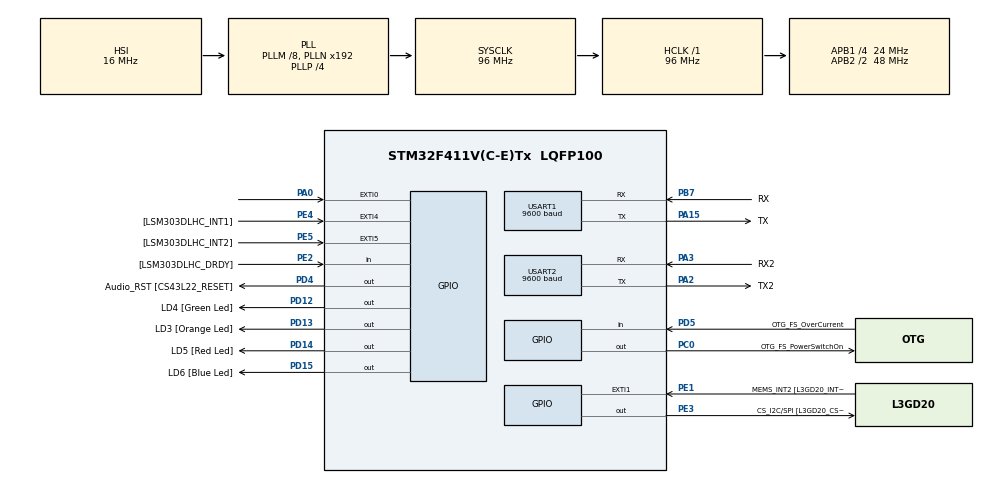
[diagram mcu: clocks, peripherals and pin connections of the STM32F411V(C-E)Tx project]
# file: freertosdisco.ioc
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Dma.Request0=USART1_RX
Dma.USART1_RX.0.Direction=DMA_PERIPH_TO_MEMORY
Dma.USART1_RX.0.FIFOMode=DMA_FIFOMODE_DISABLE
Dma.USART1_RX.0.Instance=DMA2_Stream2
Dma.USART1_RX.0.MemDataAlignment=DMA_MDATAALIGN_BYTE
Dma.USART1_RX.0.MemInc=DMA_MINC_ENABLE
Dma.USART1_RX.0.Mode=DMA_CIRCULAR
Dma.USART1_RX.0.PeriphDataAlignment=DMA_PDATAALIGN_BYTE
Dma.USART1_RX.0.PeriphInc=DMA_PINC_DISABLE
Dma.USART1_RX.0.Priority=DMA_PRIORITY_LOW
FREERTOS.BinarySemaphores01=myBinarySem01
FREERTOS.INCLUDE_vTaskDelayUntil=1
FREERTOS.Tasks01=Task1,0,128,task1,Default
FREERTOS.configUSE_IDLE_HOOK=1
Mcu.Family=STM32F4
Mcu.Name=STM32F411V(C-E)Tx
Mcu.Package=LQFP100
NVIC.DMA2_Stream2_IRQn=true\:5\:0\:false\:false\:true\:true
NVIC.PriorityGroup=NVIC_PRIORITYGROUP_4
NVIC.TIM1_UP_TIM10_IRQn=true\:0\:0\:false\:false\:true\:false
NVIC.TimeBase=TIM1_UP_TIM10_IRQn
NVIC.TimeBaseIP=TIM1
NVIC.USART1_IRQn=true\:0\:0\:false\:false\:true\:false
NVIC.USART2_IRQn=true\:0\:0\:false\:false\:true\:false
PA0-WKUP.GPIO_ModeDefaultEXTI=GPIO_MODE_EVT_RISING
PA0-WKUP.Signal=GPXTI0
PA10.GPIO_Label=OTG_FS_ID
PA10.Signal=USB_OTG_FS_ID
PA11.GPIO_Label=OTG_FS_DM
PA11.Signal=USB_OTG_FS_DM
PA12.GPIO_Label=OTG_FS_DP
PA12.Signal=USB_OTG_FS_DP
PA13.GPIO_Label=SWDIO
PA13.Signal=SYS_JTMS-SWDIO
PA14.GPIO_Label=SWCLK
PA14.Signal=SYS_JTCK-SWCLK
PA15.GPIO_Label=TX
PA15.Mode=Asynchronous
PA15.Signal=USART1_TX
PA2.GPIO_Label=TX2
PA2.Mode=Asynchronous
PA2.Signal=USART2_TX
PA3.GPIO_Label=RX2
PA3.Mode=Asynchronous
PA3.Signal=USART2_RX
PA4.GPIO_Label=I2S3_WS [CS43L22_LRCK]
PA4.GPIO_Mode=GPIO_MODE_AF_PP
PA4.GPIO_PuPd=GPIO_NOPULL
PA4.GPIO_Speed=GPIO_SPEED_FREQ_LOW
PA4.Signal=I2S3_WS
PA5.GPIO_Label=SPI1_SCK [L3GD20_SC/SPC]
PA5.Signal=SPI1_SCK
PA6.GPIO_Label=SPI1_MISO [L3GD20_AS0/SDO]
PA6.Signal=SPI1_MISO
PA7.GPIO_Label=SPI1_MOSI [L3GD20_SDA/SDI/SDO]
PA7.Signal=SPI1_MOSI
PA9.GPIO_Label=VBUS_FS
PA9.Signal=USB_OTG_FS_VBUS
PB10.GPIO_Label=CLK_IN [MP45DT02_CLK]
PB10.Signal=I2S2_CK
PB12.Signal=I2S2_WS
PB3.GPIO_Label=SWO
PB3.Signal=SYS_JTDO-SWO
PB6.GPIO_Label=Audio_SCL [CS43L22_SCL]
PB6.GPIO_Mode=GPIO_MODE_AF_OD
PB6.GPIO_PuPd=GPIO_NOPULL
PB6.GPIO_Speed=GPIO_SPEED_FREQ_LOW
PB6.Signal=I2C1_SCL
PB7.GPIO_Label=RX
PB7.Mode=Asynchronous
PB7.Signal=USART1_RX
PB9.GPIO_Label=Audio_SDA [CS43L22_SDA]
PB9.GPIO_Mode=GPIO_MODE_AF_OD
PB9.GPIO_PuPd=GPIO_NOPULL
PB9.GPIO_Speed=GPIO_SPEED_FREQ_LOW
PB9.Signal=I2C1_SDA
PC0.GPIO_Label=OTG_FS_PowerSwitchOn
PC0.Signal=GPIO_Output
PC10.GPIO_Label=I2S3_SCK [CS43L22_SCLK]
PC10.GPIO_Mode=GPIO_MODE_AF_PP
PC10.GPIO_PuPd=GPIO_NOPULL
PC10.GPIO_Speed=GPIO_SPEED_FREQ_LOW
PC10.Signal=I2S3_CK
PC12.GPIO_Label=I2S3_SD [CS43L22_SDIN]
PC12.GPIO_Mode=GPIO_MODE_AF_PP
PC12.GPIO_PuPd=GPIO_NOPULL
PC12.GPIO_Speed=GPIO_SPEED_FREQ_LOW
PC12.Signal=I2S3_SD
PC14-OSC32_IN.GPIO_Label=PC14-OSC32_IN
PC14-OSC32_IN.Signal=RCC_OSC32_IN
PC15-OSC32_OUT.GPIO_Label=PC15-OSC32_OUT
PC15-OSC32_OUT.Signal=RCC_OSC32_OUT
PC3.GPIO_Label=PDM_OUT [MP45DT02_DOUT]
PC3.Signal=I2S2_SD
PC7.GPIO_Label=I2S3_MCK [CS43L22_MCLK]
PC7.GPIO_Mode=GPIO_MODE_AF_PP
PC7.GPIO_PuPd=GPIO_NOPULL
PC7.GPIO_Speed=GPIO_SPEED_FREQ_LOW
PC7.Signal=I2S3_MCK
PD12.GPIO_Label=LD4 [Green Led]
PD12.GPIO_PuPd=GPIO_NOPULL
PD12.GPIO_Speed=GPIO_SPEED_FREQ_LOW
PD12.Signal=GPIO_Output
PD13.GPIO_Label=LD3 [Orange Led]
PD13.GPIO_PuPd=GPIO_NOPULL
PD13.GPIO_Speed=GPIO_SPEED_FREQ_LOW
PD13.Signal=GPIO_Output
PD14.GPIO_Label=LD5 [Red Led]
PD14.GPIO_PuPd=GPIO_NOPULL
PD14.GPIO_Speed=GPIO_SPEED_FREQ_LOW
PD14.Signal=GPIO_Output
PD15.GPIO_Label=LD6 [Blue Led]
PD15.GPIO_PuPd=GPIO_NOPULL
PD15.GPIO_Speed=GPIO_SPEED_FREQ_LOW
PD15.Signal=GPIO_Output
PD4.GPIO_Label=Audio_RST [CS43L22_RESET]
PD4.Signal=GPIO_Output
PD5.GPIO_Label=OTG_FS_OverCurrent
PD5.Signal=GPIO_Input
PE1.GPIO_Label=MEMS_INT2 [L3GD20_INT2]
PE1.GPIO_ModeDefaultEXTI=GPIO_MODE_EVT_RISING
PE1.Signal=GPXTI1
PE2.GPIO_Label=[LSM303DLHC_DRDY]
PE2.Signal=GPIO_Input
PE3.GPIO_Label=CS_I2C/SPI [L3GD20_CS_I2C/SPI]
PE3.Signal=GPIO_Output
PE4.GPIO_Label=[LSM303DLHC_INT1]
PE4.GPIO_ModeDefaultEXTI=GPIO_MODE_EVT_RISING
PE4.Signal=GPXTI4
PE5.GPIO_Label=[LSM303DLHC_INT2]
PE5.GPIO_ModeDefaultEXTI=GPIO_MODE_EVT_RISING
PE5.Signal=GPXTI5
PH0\ -\ OSC_IN.GPIO_Label=PH0-OSC_IN
PH0\ -\ OSC_IN.Signal=RCC_OSC_IN
PH1\ -\ OSC_OUT.GPIO_Label=PH1-OSC_OUT
PH1\ -\ OSC_OUT.Signal=RCC_OSC_OUT
ProjectManager.HeapSize=0x200
ProjectManager.StackSize=0x400
ProjectManager.TargetToolchain=SW4STM32
RCC.48MHZClocksFreq_Value=48000000
RCC.AHBFreq_Value=96000000
RCC.APB1CLKDivider=RCC_HCLK_DIV4
RCC.APB1Freq_Value=24000000
RCC.APB1TimFreq_Value=48000000
RCC.APB2CLKDivider=RCC_HCLK_DIV2
RCC.APB2Freq_Value=48000000
RCC.APB2TimFreq_Value=96000000
RCC.CortexFreq_Value=96000000
RCC.HCLKFreq_Value=96000000
RCC.HSE_VALUE=8000000
RCC.HSI_VALUE=16000000
RCC.LSE_VALUE=32768
RCC.PLLI2SM=5
RCC.PLLI2SN=200
RCC.PLLM=8
RCC.PLLP=RCC_PLLP_DIV4
RCC.PLLQ=8
RCC.SYSCLKFreq_VALUE=96000000
RCC.SYSCLKSource=RCC_SYSCLKSOURCE_PLLCLK
RCC.VCOOutputFreq_Value=384000000
USART1.BaudRate=9600
USART2.BaudRate=9600
VP_FREERTOS_VS_ENABLE.Mode=Enabled
VP_SYS_VS_tim1.Mode=TIM1
board=STM32F411E-DISCO

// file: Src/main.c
/**
  ******************************************************************************
  * File Name          : main.c
  * Description        : Main program body
  ******************************************************************************
  *
  * COPYRIGHT(c) 2016 STMicroelectronics
  *
  * Redistribution and use in source and binary forms, with or without modification,
  * are permitted provided that the following conditions are met:
  *   1. Redistributions of source code must retain the above copyright notice,
  *      this list of conditions and the following disclaimer.
  *   2. Redistributions in binary form must reproduce the above copyright notice,
  *      this list of conditions and the following disclaimer in the documentation
  *      and/or other materials provided with the distribution.
  *   3. Neither the name of STMicroelectronics nor the names of its contributors
  *      may be used to endorse or promote products derived from this software
  *      without specific prior written permission.
  *
  * THIS SOFTWARE IS PROVIDED BY THE COPYRIGHT HOLDERS AND CONTRIBUTORS "AS IS"
  * AND ANY EXPRESS OR IMPLIED WARRANTIES, INCLUDING, BUT NOT LIMITED TO, THE
  * IMPLIED WARRANTIES OF MERCHANTABILITY AND FITNESS FOR A PARTICULAR PURPOSE ARE
  * DISCLAIMED. IN NO EVENT SHALL THE COPYRIGHT HOLDER OR CONTRIBUTORS BE LIABLE
  * FOR ANY DIRECT, INDIRECT, INCIDENTAL, SPECIAL, EXEMPLARY, OR CONSEQUENTIAL
  * DAMAGES (INCLUDING, BUT NOT LIMITED TO, PROCUREMENT OF SUBSTITUTE GOODS OR
  * SERVICES; LOSS OF USE, DATA, OR PROFITS; OR BUSINESS INTERRUPTION) HOWEVER
  * CAUSED AND ON ANY THEORY OF LIABILITY, WHETHER IN CONTRACT, STRICT LIABILITY,
  * OR TORT (INCLUDING NEGLIGENCE OR OTHERWISE) ARISING IN ANY WAY OUT OF THE USE
  * OF THIS SOFTWARE, EVEN IF ADVISED OF THE POSSIBILITY OF SUCH DAMAGE.
  *
  ******************************************************************************
  */
#include "stm32f4xx_hal.h"
#include "cmsis_os.h"
#include "dma.h"
#include "usart.h"
#include "gpio.h"

/* USER CODE BEGIN Includes */
#include "FreeRTOS.h"
/* USER CODE END Includes */

/* USER CODE BEGIN PV */
/* Private variables ---------------------------------------------------------*/

/* USER CODE END PV */

void SystemClock_Config(void);
void Error_Handler(void);
void MX_FREERTOS_Init(void);

/* USER CODE BEGIN PFP */
/* Private function prototypes -----------------------------------------------*/

/* USER CODE END PFP */

int main(void)
{

  /* MCU Configuration----------------------------------------------------------*/

  /* Reset of all peripherals, Initializes the Flash interface and the Systick. */
  HAL_Init();

  /* Configure the system clock */
  SystemClock_Config();

  /* Initialize all configured peripherals */
  MX_GPIO_Init();
  MX_DMA_Init();
  MX_USART1_UART_Init();
  MX_USART2_UART_Init();

  /* Call init function for freertos objects (in freertos.c) */
  MX_FREERTOS_Init();

  /* Start scheduler */
  osKernelStart();

  /* We should never get here as control is now taken by the scheduler */

  /* Infinite loop */
  while (1)
  {

  }

}

/** System Clock Configuration
*/
void SystemClock_Config(void)
{

  RCC_OscInitTypeDef RCC_OscInitStruct;
  RCC_ClkInitTypeDef RCC_ClkInitStruct;

  __HAL_RCC_PWR_CLK_ENABLE();

  __HAL_PWR_VOLTAGESCALING_CONFIG(PWR_REGULATOR_VOLTAGE_SCALE1);

  RCC_OscInitStruct.OscillatorType = RCC_OSCILLATORTYPE_HSI;
  RCC_OscInitStruct.HSIState = RCC_HSI_ON;
  RCC_OscInitStruct.HSICalibrationValue = 16;
  RCC_OscInitStruct.PLL.PLLState = RCC_PLL_ON;
  RCC_OscInitStruct.PLL.PLLSource = RCC_PLLSOURCE_HSI;
  RCC_OscInitStruct.PLL.PLLM = 8;
  RCC_OscInitStruct.PLL.PLLN = 192;
  RCC_OscInitStruct.PLL.PLLP = RCC_PLLP_DIV4;
  RCC_OscInitStruct.PLL.PLLQ = 8;
  if (HAL_RCC_OscConfig(&RCC_OscInitStruct) != HAL_OK)
  {
    Error_Handler();
  }

  RCC_ClkInitStruct.ClockType = RCC_CLOCKTYPE_HCLK|RCC_CLOCKTYPE_SYSCLK
                              |RCC_CLOCKTYPE_PCLK1|RCC_CLOCKTYPE_PCLK2;
  RCC_ClkInitStruct.SYSCLKSource = RCC_SYSCLKSOURCE_PLLCLK;
  RCC_ClkInitStruct.AHBCLKDivider = RCC_SYSCLK_DIV1;
  RCC_ClkInitStruct.APB1CLKDivider = RCC_HCLK_DIV4;
  RCC_ClkInitStruct.APB2CLKDivider = RCC_HCLK_DIV2;
  if (HAL_RCC_ClockConfig(&RCC_ClkInitStruct, FLASH_LATENCY_3) != HAL_OK)
  {
    Error_Handler();
  }

  HAL_SYSTICK_Config(HAL_RCC_GetHCLKFreq()/1000);

  HAL_SYSTICK_CLKSourceConfig(SYSTICK_CLKSOURCE_HCLK);

  /* SysTick_IRQn interrupt configuration */
  HAL_NVIC_SetPriority(SysTick_IRQn, 15, 0);
}

void HAL_TIM_PeriodElapsedCallback(TIM_HandleTypeDef *htim)
{
  if (htim->Instance == TIM1) {
    HAL_IncTick();
  }
}

void Error_Handler(void)
{
  while(1)
  {
  }
}

/************************ (C) COPYRIGHT STMicroelectronics *****END OF FILE****/

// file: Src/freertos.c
/**
  ******************************************************************************
  * File Name          : freertos.c
  * Description        : Code for freertos applications
  ******************************************************************************
  *
  * COPYRIGHT(c) 2016 STMicroelectronics
  *
  * Redistribution and use in source and binary forms, with or without modification,
  * are permitted provided that the following conditions are met:
  *   1. Redistributions of source code must retain the above copyright notice,
  *      this list of conditions and the following disclaimer.
  *   2. Redistributions in binary form must reproduce the above copyright notice,
  *      this list of conditions and the following disclaimer in the documentation
  *      and/or other materials provided with the distribution.
  *   3. Neither the name of STMicroelectronics nor the names of its contributors
  *      may be used to endorse or promote products derived from this software
  *      without specific prior written permission.
  *
  * THIS SOFTWARE IS PROVIDED BY THE COPYRIGHT HOLDERS AND CONTRIBUTORS "AS IS"
  * AND ANY EXPRESS OR IMPLIED WARRANTIES, INCLUDING, BUT NOT LIMITED TO, THE
  * IMPLIED WARRANTIES OF MERCHANTABILITY AND FITNESS FOR A PARTICULAR PURPOSE ARE
  * DISCLAIMED. IN NO EVENT SHALL THE COPYRIGHT HOLDER OR CONTRIBUTORS BE LIABLE
  * FOR ANY DIRECT, INDIRECT, INCIDENTAL, SPECIAL, EXEMPLARY, OR CONSEQUENTIAL
  * DAMAGES (INCLUDING, BUT NOT LIMITED TO, PROCUREMENT OF SUBSTITUTE GOODS OR
  * SERVICES; LOSS OF USE, DATA, OR PROFITS; OR BUSINESS INTERRUPTION) HOWEVER
  * CAUSED AND ON ANY THEORY OF LIABILITY, WHETHER IN CONTRACT, STRICT LIABILITY,
  * OR TORT (INCLUDING NEGLIGENCE OR OTHERWISE) ARISING IN ANY WAY OUT OF THE USE
  * OF THIS SOFTWARE, EVEN IF ADVISED OF THE POSSIBILITY OF SUCH DAMAGE.
  *
  ******************************************************************************
  */

#include "FreeRTOS.h"
#include "task.h"
#include "cmsis_os.h"

/* USER CODE BEGIN Includes */
#include "gpio.h"
#include "usart.h"
#include "dma.h"
/* USER CODE END Includes */

osThreadId Task1Handle;
osSemaphoreId myBinarySem01Handle;

/* USER CODE BEGIN Variables */
//xSemaphoreHandle xBinarySemaphore;

osSemaphoreId testBinarySemHandle;

osThreadId Task2Handle;
osThreadId Task3Handle;
osThreadId Task4Handle;
osThreadId taskLed7SegHandle;

uint8_t Rx_indx, Rx_data[2], Rx_Buffer[255], Transfer_cplt, idxTest, txDone = 0;

uint8_t buffer[10],len=2;

volatile uint32_t UartErrorCount;
volatile uint32_t astan;
volatile int licznikBussyRx=0;
volatile uint32_t statusTX;
volatile uint32_t statusRX;
volatile uint32_t licznikRXBussyState;
volatile uint8_t timeDelayRxFlag;
volatile uint8_t recivingRxFlag;

/* USER CODE END Variables */

void task1(void const * argument);

void MX_FREERTOS_Init(void); /* (MISRA C 2004 rule 8.1) */

/* USER CODE BEGIN FunctionPrototypes */

void task2(void const * argument);
void task3(void const * argument);
void task4(void const * argument);
void taskLed7Seg(void const * argument);

/* USER CODE END FunctionPrototypes */

/* Hook prototypes */
void vApplicationIdleHook(void);

/* USER CODE BEGIN 2 */
void vApplicationIdleHook( void )
{
   /* vApplicationIdleHook() will only be called if configUSE_IDLE_HOOK is set
   to 1 in FreeRTOSConfig.h. It will be called on each iteration of the idle
   task. It is essential that code added to this hook function never attempts
   to block in any way (for example, call xQueueReceive() with a block time
   specified, or call vTaskDelay()). If the application makes use of the
   vTaskDelete() API function (as this demo application does) then it is also
   important that vApplicationIdleHook() is permitted to return to its calling
   function, because it is the responsibility of the idle task to clean up
   memory allocated by the kernel to any task that has since been deleted. */
}
/* USER CODE END 2 */

/* Init FreeRTOS */

void MX_FREERTOS_Init(void) {
  /* USER CODE BEGIN Init */

	HAL_UART_Receive_DMA(&huart1, Rx_data, 1);

	//statusRX = HAL_UART_Receive_IT(&huart2, Rx_data, 1);
	//statusRX = HAL_UART_Receive_DMA(&huart2, Rx_data, 1);

  /* USER CODE END Init */

  /* Create the semaphores(s) */
  /* definition and creation of myBinarySem01 */
  osSemaphoreDef(myBinarySem01);
  myBinarySem01Handle = osSemaphoreCreate(osSemaphore(myBinarySem01), 1);

  /* USER CODE BEGIN RTOS_SEMAPHORES */
  /* add semaphores, ... */

  osSemaphoreDef(testBinarySemHandle);
  testBinarySemHandle = osSemaphoreCreate(osSemaphore(testBinarySemHandle), 1);

  /* USER CODE END RTOS_SEMAPHORES */

  /* Create the thread(s) */
  /* definition and creation of Task1 */
  osThreadDef(Task1, task1, osPriorityNormal, 0, 128);
  Task1Handle = osThreadCreate(osThread(Task1), NULL);

  /* USER CODE BEGIN RTOS_THREADS */
  /* add threads, ... */

  osThreadDef(Task2, task2, osPriorityNormal, 0, 128);
  Task2Handle = osThreadCreate(osThread(Task2), NULL);

  osThreadDef(Task3, task3, osPriorityNormal, 0, 128);
  Task3Handle = osThreadCreate(osThread(Task3), NULL);

  osThreadDef(Task4, task4, osPriorityNormal, 0, 128);
  Task4Handle = osThreadCreate(osThread(Task4), NULL);

  osThreadDef(TaskLed7Seg, taskLed7Seg, osPriorityNormal, 0, 128);
  taskLed7SegHandle = osThreadCreate(osThread(TaskLed7Seg), NULL);

  /* USER CODE END RTOS_THREADS */

}

/* task1 function */
void task1(void const * argument)
{

  /* USER CODE BEGIN task1 */
  /* Infinite loop */
  for(;;)
  {
    osDelay(100);
  }
  /* USER CODE END task1 */
}

/* USER CODE BEGIN Application */
void taskLed7Seg(void const * argument)
{
	uint32_t PreviousWakeTime = osKernelSysTick();
	for(;;)
	{

		//idle time uart 1
//		if (timeDelayRxFlag == 0) {
//			timeDelayRxFlag = 1;
//		}
//		else if (recivingRxFlag == 1)
//		{
//			recivingRxFlag = 0;
//			Transfer_cplt = 1;
//			Rx_indx = 0;
//		}
	 if (__HAL_UART_GET_FLAG(&huart1, UART_FLAG_IDLE) == 1)
		{
		 __HAL_UART_CLEAR_IDLEFLAG(&huart1);
		 HAL_GPIO_TogglePin(LD4_GPIO_Port, LD4_Pin);
			recivingRxFlag = 0;
			Transfer_cplt = 1;
			Rx_indx = 0;
		}

		//******************

		if( (Transfer_cplt == 1) && (txDone == 0))
		{
			txDone = 1;
			Transfer_cplt = 0;
			osSemaphoreRelease(testBinarySemHandle);
			HAL_GPIO_TogglePin(LD6_GPIO_Port, LD6_Pin);
		}

		astan = HAL_UART_GetState( &huart1 ) ;
		astan = HAL_UART_GetState( &huart2 ) ;

		if(  astan ==  34 )
		{
			licznikBussyRx++;
		} else
		{
			licznikBussyRx = 0;
		}

	    osDelayUntil(&PreviousWakeTime, 5);
	}
}

void HAL_UART_RxCpltCallback(UART_HandleTypeDef *huart)
{

	if (Rx_indx==0)
	{
		for (uint8_t i=0;i<255;i++)
		{
			Rx_Buffer[i]=0;
		}
	}

	if (huart->Instance == USART1)
		{
		HAL_UART_DMAPause(huart);
		__HAL_UART_FLUSH_DRREGISTER(huart);

		Rx_Buffer[Rx_indx++] = Rx_data[0];

		if ( Rx_indx >= 255 )
		{
			Rx_indx = 0;
		}

		timeDelayRxFlag = 0;
		recivingRxFlag = 1;

		HAL_UART_DMAResume(huart);
		}

	if (huart->Instance == USART2)
	{
		__HAL_UART_FLUSH_DRREGISTER(huart);
		if( Rx_data[0]!=13 )
		{

			Rx_Buffer[Rx_indx++] = Rx_data[0];
			if ( Rx_indx >= 100 )
			{
				Rx_indx = 0;
			}
		}
		else
		{
			idxTest = Rx_indx;
			Rx_indx=0;
			Transfer_cplt = 1;
		}

		statusRX = HAL_UART_Receive_IT(&huart2, Rx_data, 1);
		//statusRX = HAL_UART_Receive_DMA(&huart2, Rx_data, 1);

		  if (statusRX == HAL_OK) {
			  licznikRXBussyState = 1;
		  }
		  else if (statusRX == HAL_ERROR)
		  {
			  licznikRXBussyState = 2;
		  }
		  else if (statusRX == HAL_BUSY)
		  {
			  licznikRXBussyState = 3;
		  }

	}

	//HAL_GPIO_TogglePin(LD4_GPIO_Port, LD4_Pin);
}

void HAL_UART_TxCpltCallback(UART_HandleTypeDef *huart)
{
	txDone = 0;
	HAL_GPIO_TogglePin(LD3_GPIO_Port, LD3_Pin);

}

void HAL_UART_ErrorCallback(UART_HandleTypeDef *huart)
{
	txDone = 0;

	UartErrorCount++;

	  __HAL_UART_CLEAR_OREFLAG(huart);
	  __HAL_UART_CLEAR_NEFLAG(huart);
	  __HAL_UART_CLEAR_FEFLAG(huart);
	  __HAL_UART_CLEAR_PEFLAG(huart);
//	  __HAL_UART_CLEAR_IDLEFLAG(huart);

	//  __HAL_UART_DISABLE_IT(huart, UART_IT_ERR );

	 if(huart->Instance == USART1)
	  {
		 __HAL_UART_FLUSH_DRREGISTER(&huart1);
		// HAL_UART_Receive_DMA(&huart1, Rx_data, 1);
		 HAL_UART_Receive_DMA(&huart1, Rx_data, 1);
	  }

	 if(huart->Instance == USART2)
	  {
		 __HAL_UART_FLUSH_DRREGISTER(&huart2);
		 statusRX = HAL_UART_Receive_IT(&huart2, Rx_data, 1);
		 //statusRX = HAL_UART_Receive_DMA(&huart2, Rx_data, 1);
	  }
}

void task2(void const * argument)
{
  /* Infinite loop */
  for(;;)
  {

	  buffer[0]=UartErrorCount;
	  buffer[1]= 66;
	  buffer[2]=67;
	  buffer[3]=13;
	  buffer[4]=10;

	  //HAL_UART_Transmit(&huart1, buffer, len, 1000);
	//statusTX =  HAL_UART_Transmit_IT(&huart2, buffer, 5);
	//UART_Transmit_IT

	  if (statusTX == HAL_OK) {
		  licznikRXBussyState = 1;
	  }
	  else if (statusTX == HAL_ERROR)
	  {
		  licznikRXBussyState = 2;

	  }
	  else if (statusTX == HAL_BUSY)
	  {
		  licznikRXBussyState = 3;
	  }

//	  HAL_UART_Transmit_DMA(&huart1, buffer, 5);
	//	 __HAL_UART_FLUSH_DRREGISTER(&huart2);
	//	 HAL_UART_Receive_IT(&huart2, Rx_data, 1);

	HAL_GPIO_TogglePin(LD3_GPIO_Port, LD3_Pin);
    osDelay(5000);
 //   osSemaphoreRelease(testBinarySemHandle);

  }
}
void task3(void const * argument)
{
  /* Infinite loop */
	static uint8_t data[255];
	static uint16_t size;

	static int licznikOK = 0;
	static int licznikAll = 0;

  for(;;)
  {
	  osSemaphoreWait(testBinarySemHandle, osWaitForever);

	  size = sprintf( (char *) data, "Semafor Task OK: %d, BUSSY: %d, ERROR: %d SIZE %d\r\n", (int) licznikOK , licznikAll++, (int)UartErrorCount, (int) size  );

	  if (size > 255)
		{
			size = 255;
		}

	  statusTX = HAL_UART_Transmit_IT(&huart2, Rx_Buffer , sizeof(Rx_Buffer));
	  statusTX = HAL_UART_Transmit_IT(&huart1, data , size);

	  if (statusTX == HAL_OK) {
		  licznikOK++;
	  }
	  else if (statusTX == HAL_ERROR)
	  {
			txDone = 0;
			Transfer_cplt = 1;

	  }
	  else if (statusTX == HAL_BUSY)
	  {
			txDone = 0;
			Transfer_cplt = 1;
	  }

	  data[0] = (uint8_t)UartErrorCount + 48;
	  data[1]=10;
	  data[2]=13;
	 // HAL_UART_Transmit_DMA(&huart1, data , 2);

//	  HAL_GPIO_WritePin(LD4_GPIO_Port, LD4_Pin, GPIO_PIN_SET);
//	  osDelay(100);
//	  HAL_GPIO_WritePin(LD4_GPIO_Port, LD4_Pin, GPIO_PIN_RESET);

  }
}

void task4(void const * argument)
{
  /* Infinite loop */
  for(;;)
  {
	 // xSemaphoreTake( xBinarySemaphore, portMAX_DELAY );
	  HAL_GPIO_TogglePin(LD5_GPIO_Port, LD5_Pin);
	  osDelay(200);
  }
}

/* USER CODE END Application */

/************************ (C) COPYRIGHT STMicroelectronics *****END OF FILE****/
